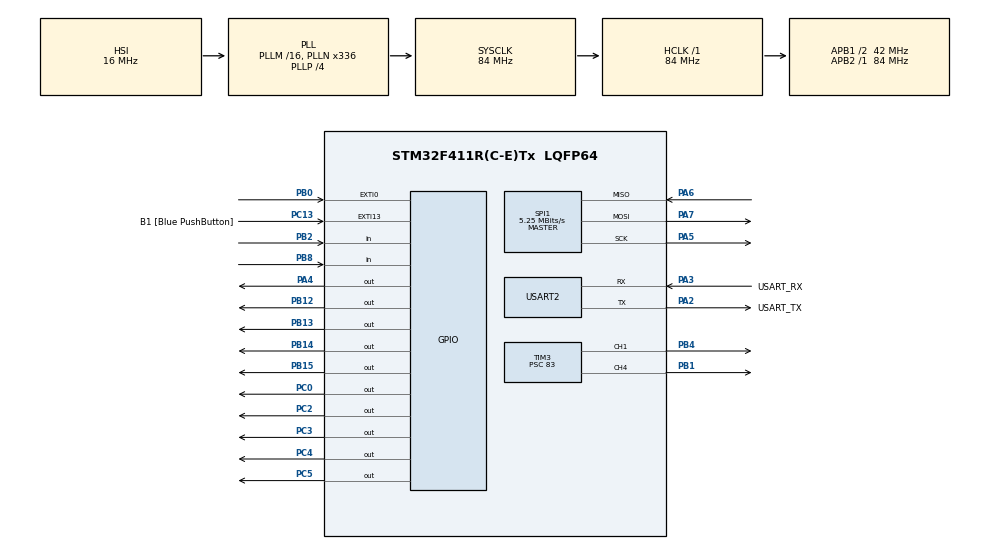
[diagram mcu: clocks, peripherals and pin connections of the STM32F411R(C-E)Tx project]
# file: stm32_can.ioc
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FREERTOS.Tasks01=defaultTask,24,128,StartDefaultTask,Default,NULL,Dynamic,NULL,NULL
FREERTOS.configUSE_NEWLIB_REENTRANT=1
Mcu.Family=STM32F4
Mcu.Name=STM32F411R(C-E)Tx
Mcu.Package=LQFP64
NVIC.EXTI0_IRQn=true\:5\:0\:false\:false\:true\:true\:true\:true\:true
NVIC.PriorityGroup=NVIC_PRIORITYGROUP_4
NVIC.TIM1_TRG_COM_TIM11_IRQn=true\:15\:0\:false\:false\:true\:false\:false\:true\:true
NVIC.TimeBase=TIM1_TRG_COM_TIM11_IRQn
NVIC.TimeBaseIP=TIM11
PA13.GPIO_Label=TMS
PA13.Mode=Serial_Wire
PA13.Signal=SYS_JTMS-SWDIO
PA14.GPIO_Label=TCK
PA14.Mode=Serial_Wire
PA14.Signal=SYS_JTCK-SWCLK
PA2.GPIO_Label=USART_TX
PA2.Mode=Asynchronous
PA2.Signal=USART2_TX
PA3.GPIO_Label=USART_RX
PA3.Mode=Asynchronous
PA3.Signal=USART2_RX
PA4.PinState=GPIO_PIN_SET
PA4.Signal=GPIO_Output
PA5.Mode=Full_Duplex_Master
PA5.Signal=SPI1_SCK
PA6.Mode=Full_Duplex_Master
PA6.Signal=SPI1_MISO
PA7.Mode=Full_Duplex_Master
PA7.Signal=SPI1_MOSI
PB0.GPIO_ModeDefaultEXTI=GPIO_MODE_IT_FALLING
PB0.GPIO_PuPd=GPIO_PULLUP
PB0.Signal=GPXTI0
PB1.Signal=S_TIM3_CH4
PB12.Signal=GPIO_Output
PB13.Signal=GPIO_Output
PB14.Signal=GPIO_Output
PB15.Signal=GPIO_Output
PB2.GPIO_PuPd=GPIO_PULLUP
PB2.Signal=GPIO_Input
PB3.GPIO_Label=SWO
PB3.Signal=SYS_JTDO-SWO
PB4.Signal=S_TIM3_CH1
PB8.GPIO_PuPd=GPIO_PULLUP
PB8.Signal=GPIO_Input
PC0.Signal=GPIO_Output
PC13-ANTI_TAMP.GPIO_Label=B1 [Blue PushButton]
PC13-ANTI_TAMP.GPIO_ModeDefaultEXTI=GPIO_MODE_IT_FALLING
PC13-ANTI_TAMP.Signal=GPXTI13
PC14-OSC32_IN.Mode=LSE-External-Oscillator
PC14-OSC32_IN.Signal=RCC_OSC32_IN
PC15-OSC32_OUT.Mode=LSE-External-Oscillator
PC15-OSC32_OUT.Signal=RCC_OSC32_OUT
PC2.Signal=GPIO_Output
PC3.Signal=GPIO_Output
PC4.Signal=GPIO_Output
PC5.Signal=GPIO_Output
PH0\ -\ OSC_IN.Mode=HSE-External-Clock-Source
PH0\ -\ OSC_IN.Signal=RCC_OSC_IN
PH1\ -\ OSC_OUT.Mode=HSE-External-Clock-Source
PH1\ -\ OSC_OUT.Signal=RCC_OSC_OUT
ProjectManager.HeapSize=0x200
ProjectManager.StackSize=0x400
ProjectManager.TargetToolchain=STM32CubeIDE
RCC.48MHZClocksFreq_Value=84000000
RCC.AHBFreq_Value=84000000
RCC.APB1CLKDivider=RCC_HCLK_DIV2
RCC.APB1Freq_Value=42000000
RCC.APB1TimFreq_Value=84000000
RCC.APB2Freq_Value=84000000
RCC.APB2TimFreq_Value=84000000
RCC.CortexFreq_Value=84000000
RCC.FLatency-AdvancedSettings=FLASH_LATENCY_2
RCC.HCLKFreq_Value=84000000
RCC.HSE_VALUE=8000000
RCC.HSI_VALUE=16000000
RCC.PLLN=336
RCC.PLLP=RCC_PLLP_DIV4
RCC.SYSCLKFreq_VALUE=84000000
RCC.SYSCLKSource=RCC_SYSCLKSOURCE_PLLCLK
RCC.VCOOutputFreq_Value=336000000
SH.S_TIM3_CH1.0=TIM3_CH1,PWM Generation1 CH1
SH.S_TIM3_CH4.0=TIM3_CH4,PWM Generation4 CH4
SPI1.BaudRatePrescaler=SPI_BAUDRATEPRESCALER_16
SPI1.CalculateBaudRate=5.25 MBits/s
SPI1.Direction=SPI_DIRECTION_2LINES
SPI1.Mode=SPI_MODE_MASTER
SPI1.VirtualType=VM_MASTER
TIM3.Channel-PWM\ Generation1\ CH1=TIM_CHANNEL_1
TIM3.Channel-PWM\ Generation4\ CH4=TIM_CHANNEL_4
TIM3.Period=19999
TIM3.Prescaler=83
USART2.VirtualMode=VM_ASYNC
VP_FREERTOS_VS_CMSIS_V2.Mode=CMSIS_V2
VP_SYS_VS_tim11.Mode=TIM11
VP_TIM3_VS_ClockSourceINT.Mode=Internal
board=NUCLEO-F411RE

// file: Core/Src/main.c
/* USER CODE BEGIN Header */
/**
  ******************************************************************************
  * @file           : main.c
  * @brief          : Combined Multi-Task System
  * : System 1 (Cap Dispenser & Press Sequence via Servos & Dual L298N)
  * : System 2 (Relay & Actuator Sequence Control)
  ******************************************************************************
  */
/* USER CODE END Header */
#include "main.h"
#include "cmsis_os.h"

/* USER CODE BEGIN Includes */
#include "mcp2515.h"
#include <stdio.h>
#include <string.h>
/* USER CODE END Includes */

/* USER CODE BEGIN PD */
/* ========================================================================= */
/* [시스템 2 매크로 정의]                                                    */
/* ========================================================================= */
#define SENSOR2_DETECTED() (HAL_GPIO_ReadPin(GPIOB, GPIO_PIN_2) == GPIO_PIN_RESET)
#define RELAY_ON()        HAL_GPIO_WritePin(GPIOB, GPIO_PIN_14, GPIO_PIN_SET)
#define RELAY_OFF()       HAL_GPIO_WritePin(GPIOB, GPIO_PIN_14, GPIO_PIN_RESET)

/* 2번 액추에이터 제어 (IN3: PB12, IN4: PB15) - PB13 핀 불량으로 PB15 대체 */
#define ACT2_FORWARD()    do { HAL_GPIO_WritePin(GPIOB, GPIO_PIN_12, GPIO_PIN_SET);   HAL_GPIO_WritePin(GPIOB, GPIO_PIN_15, GPIO_PIN_RESET); } while(0)
#define ACT2_BACKWARD()   do { HAL_GPIO_WritePin(GPIOB, GPIO_PIN_12, GPIO_PIN_RESET); HAL_GPIO_WritePin(GPIOB, GPIO_PIN_15, GPIO_PIN_SET);   } while(0)
#define ACT2_STOP()       do { HAL_GPIO_WritePin(GPIOB, GPIO_PIN_12, GPIO_PIN_RESET); HAL_GPIO_WritePin(GPIOB, GPIO_PIN_15, GPIO_PIN_RESET); } while(0)

/* ========================================================================= */
/* [시스템 1: 뚜껑 공급 및 압착 제어 매크로 정의 - PC2 핀 매핑 수정 완료]     */
/* ========================================================================= */
/* PB8: 뚜껑 감지 센서 1 */
#define SENSOR1_CAP_DETECTED() (HAL_GPIO_ReadPin(GPIOB, GPIO_PIN_8) == GPIO_PIN_RESET)

/* 뚜껑 공급 액추에이터 제어 (IN1: PC0, IN2: PC5) */
#define NEW_ACT_FORWARD()  do { HAL_GPIO_WritePin(GPIOC, GPIO_PIN_0, GPIO_PIN_SET);   HAL_GPIO_WritePin(GPIOC, GPIO_PIN_5, GPIO_PIN_RESET); } while(0)
#define NEW_ACT_BACKWARD() do { HAL_GPIO_WritePin(GPIOC, GPIO_PIN_0, GPIO_PIN_RESET); HAL_GPIO_WritePin(GPIOC, GPIO_PIN_5, GPIO_PIN_SET);   } while(0)
#define NEW_ACT_STOP()     do { HAL_GPIO_WritePin(GPIOC, GPIO_PIN_0, GPIO_PIN_RESET); HAL_GPIO_WritePin(GPIOC, GPIO_PIN_5, GPIO_PIN_RESET); } while(0)

/* 뚜껑 압착 액추에이터 제어 (IN3: PC2, IN4: PC3) */
#define PRESS_ACT_FORWARD()  do { HAL_GPIO_WritePin(GPIOC, GPIO_PIN_2, GPIO_PIN_SET);   HAL_GPIO_WritePin(GPIOC, GPIO_PIN_3, GPIO_PIN_RESET); } while(0)
#define PRESS_ACT_BACKWARD() do { HAL_GPIO_WritePin(GPIOC, GPIO_PIN_2, GPIO_PIN_RESET); HAL_GPIO_WritePin(GPIOC, GPIO_PIN_3, GPIO_PIN_SET);   } while(0)
#define PRESS_ACT_STOP()     do { HAL_GPIO_WritePin(GPIOC, GPIO_PIN_2, GPIO_PIN_RESET); HAL_GPIO_WritePin(GPIOC, GPIO_PIN_3, GPIO_PIN_RESET); } while(0)

/* 서보모터 펄스 제어 편의 매크로 (TIM3 하드웨어 매핑)
 * 서보1 (PB4, TIM3_CH1) : 뚜껑 색상 선택 — 약통 색상에 맞는 뚜껑 위치로 이동
 * 서보2 (PB1, TIM3_CH4) : 약통 스토퍼 — 약통을 멈춰 정위치 고정 */
#define SET_SERVO1_PULSE(p) __HAL_TIM_SET_COMPARE(&htim3, TIM_CHANNEL_1, (p))  /* 서보1: 뚜껑 색상 선택 */
#define SET_SERVO2_PULSE(p) __HAL_TIM_SET_COMPARE(&htim3, TIM_CHANNEL_4, (p))  /* 서보2: 약통 스토퍼 */

/* 서보1(뚜껑 색상 선택) 펄스 위치 (us) — 현장 튜닝 시 이 값만 수정 */
#define SERVO1_PULSE_RED_CAP   1040U   /* 빨간 뚜껑 */
#define SERVO1_PULSE_BLUE_CAP  2300U  /* 파란 뚜껑 (그 외 색상) */
#define SERVO1_PULSE_HOME      SERVO1_PULSE_RED_CAP  /* 대기/홈 복귀 */

/* 서보2(약통 스토퍼) 펄스·램핑 — 현장 튜닝 시 이 값만 수정 */
#define SERVO2_PULSE_OPEN     2050U  /* 스토퍼 개방 (약통 통과) */
#define SERVO2_PULSE_CLOSED    820U  /* 스토퍼 차단 (약통 고정) */
#define SERVO2_PULSE_HOME      SERVO2_PULSE_CLOSED    /* 대기/홈 위치 */
#define SERVO2_RAMP_STEP         10U  /* 램핑 1스텝당 펄스 변화량 (us) */
#define SERVO2_RAMP_DELAY_MS     20U  /* 램핑 1스텝당 대기 (ms) */

/* 큐 깊이 */
#define SYS1_QUEUE_DEPTH         8U   /* 공정1(뚜껑) 약통 정보 대기 큐 */
#define SYS2_QUEUE_DEPTH         8U   /* 공정2(분류) 약통 정보 대기 큐 */

/* 공정1(뚜껑/압착) 타이밍 (ms) */
#define CAP_ALIGN_BELT_MS         2000U  /* PB8 감지 후 정위치까지 벨트 추가 가동 */
#define SERVO1_MOVE_MS            2000U  /* 서보1(뚜껑 색상) 이동 후 안정 대기 */
#define NEW_ACT_FORWARD_MS        8400U  /* 뚜껑 공급 액추에이터 전진 */
#define NEW_ACT_BACKWARD_MS       9000U  /* 뚜껑 공급 액추에이터 후진(홈) */
#define NEW_ACT_NUDGE_MS          2000U  /* 뚜껑 공급: 중간 후진/전진 넛지 시간 */
#define PRESS_ACT_FORWARD_1ST_MS  6500U  /* 압착 1차 전진 (약통 위치 고정용, 살짝 내려옴) */
#define PRESS_ACT_FORWARD_2ND_MS  2500U  /* 압착 2차 전진 (끝까지 압착, 1차+2차 = 5.3초) */
#define PRESS_ACT_BACKWARD_MS     11000U  /* 압착 액추에이터 후진(홈) */
#define CAP_PASS_AFTER_PRESS_MS   2000U  /* 압착 완료 후 약통 통과 대기 */
#define ACT_STOP_SHORT_MS          300U  /* 액추에이터 정지 후 짧은 안정화 */
#define ACT_STOP_MED_MS            500U  /* 액추에이터 정지 후 중간 안정화 */
#define ACT_STOP_BRIEF_MS          200U  /* 액추에이터 정지 후 최소 안정화 */

/* 공정2(분류) 타이밍 (ms) */
#define ACT2_FORWARD_MS       12000U  /* 분류 액추에이터 전진 */
#define ACT2_BACKWARD_MS      13000U  /* 분류 액추에이터 후진(홈) */

/* 부팅·초기화 */
#define INIT_ACTUATOR_HOME_MS ACT2_BACKWARD_MS  /* 부팅 시 홈 후진 (가장 긴 후진 기준) */

/* NG(불량) 약통 우회 동작 타이밍 */
#define NG_CAP_RELEASE_DELAY_MS  1000U  /* 공정1: 스토퍼 개방 전 대기 */
#define NG_CAP_PASS_MS           2000U  /* 공정1: NG 스토퍼 개방 후 약통 통과 대기 */
#define NG_REJECT_BELT_MS        3000U  /* 공정2: 불량 박스까지 벨트 가동 시간 */
/* USER CODE END PD */

SPI_HandleTypeDef hspi1;

TIM_HandleTypeDef htim3;

UART_HandleTypeDef huart2;

/* Definitions for defaultTask */
osThreadId_t defaultTaskHandle;
const osThreadAttr_t defaultTask_attributes = {
  .name = "defaultTask",
  .stack_size = 128 * 4,
  .priority = (osPriority_t) osPriorityNormal,
};
/* USER CODE BEGIN PV */
MCP2515_HandleTypeDef hmcp2515;

osMutexId_t        canMutex;            /* MCP2515 SPI 동시 접근 방지 */
osSemaphoreId_t    sem_can_rx;          /* MCP2515 INT 핀 낙하 → CANPingTask 즉시 기상 */
osMessageQueueId_t sys1Queue;           /* 공정1(뚜껑): CAN 수신 → PB8 처리 대기 (최대 8) */
osMessageQueueId_t sys2Queue;           /* 공정2(분류): CAN 수신 시 sys1Queue와 동시 삽입 → PB2 처리 대기 (최대 8) */

uint8_t cap_sequence_done = 0;

/* 공유 벨트(릴레이 PB14) 조정 플래그 — 정지 우선(stop-wins)
 *  - *_belt_stop : 해당 공정의 기계 시퀀스 중 벨트 정지 요청 (어느 쪽이든 1이면 정지)
 *  - *_belt_run  : 큐가 비어도 벨트를 가동해야 하는 구간(정위치/NG 배출). 정지 요청에는 양보
 * 우선순위: 정지요청 > (가동요청 또는 큐 작업) > 정지.
 * 벨트 릴레이는 BeltMgrTask 단독으로 기록한다(다중 기록 경쟁 방지). */
volatile uint8_t cap_belt_stop  = 0U;
volatile uint8_t sort_belt_stop = 0U;
volatile uint8_t cap_belt_run   = 0U;
volatile uint8_t sort_belt_run  = 0U;
/* USER CODE END PV */

void SystemClock_Config(void);
static void MX_GPIO_Init(void);
static void MX_USART2_UART_Init(void);
static void MX_SPI1_Init(void);
static void MX_TIM3_Init(void);
void StartDefaultTask(void *argument);

/* USER CODE BEGIN PFP */
static void CANPingTask(void *argument);
static void SortTask(void *argument);           /* 공정2: 분류 액추에이터 (PB2) */
static void BeltMgrTask(void *argument);        /* 공유 벨트 릴레이 단독 제어 */
static void CAN_SendSlotAvailable(void);        /* 공정1 완료 → 1번 보드에 역압력 해제 신호 */
static void CapActuators_SetIdleBackward(void); /* 공정1 액추에이터 대기 = 후진(홈) */
static void SortActuator_SetIdleBackward(void); /* 공정2 액추에이터 대기 = 후진(홈) */
static void AllActuators_SetIdleBackward(void); /* 전체 액추에이터 대기 = 후진(홈) */
/* USER CODE END PFP */

/* USER CODE BEGIN 0 */
int __io_putchar(int ch)
{
  HAL_UART_Transmit(&huart2, (uint8_t *)&ch, 1, HAL_MAX_DELAY);
  return ch;
}

/* 약통 seq 연속성 검증: 직전 seq+1과 다르면 누락/중복으로 보고 후 현재 값으로 재동기화한다.
 * last_seq/have_last는 호출부의 static 상태를 가리킨다. */
static void Seq_CheckContinuity(const char *tag, uint8_t seq,
                                uint8_t *last_seq, uint8_t *have_last)
{
  if (*have_last)
  {
    uint8_t expected = (uint8_t)(*last_seq + 1U);
    if (seq != expected)
      printf("%s 약통 번호 불연속! (기대 %u, 수신 %u) — 정보 누락 가능, 재동기화\r\n",
             tag, expected, seq);
  }
  *last_seq  = seq;
  *have_last = 1U;
}

/* 서보2(약통 스토퍼) 현재 펄스폭(us) - 램핑 이동의 시작점으로 사용 */
static uint16_t g_servo2_pulse = SERVO2_PULSE_HOME;

static void CapActuators_SetIdleBackward(void)
{
  NEW_ACT_BACKWARD();
  PRESS_ACT_BACKWARD();
}

static void SortActuator_SetIdleBackward(void)
{
  ACT2_BACKWARD();
}

static void AllActuators_SetIdleBackward(void)
{
  NEW_ACT_BACKWARD();
  PRESS_ACT_BACKWARD();
  ACT2_BACKWARD();
}

/* 공정1 완료 시 1번 보드로 수용 가능 슬롯 신호를 전송한다.
 * 이 신호를 받은 1번 보드는 다음 약통 사이클을 시작할 수 있다.
 * data[1]에 단조 증가 seq를 실어 보내 Board 1이 CAN 재전송 중복을 식별할 수 있도록 한다. */
static void CAN_SendSlotAvailable(void)
{
  static uint8_t slot_seq = 0U;
  MCP2515_CanMsg tx = {
    .id       = CAN_ID_3RD_TX,
    .dlc      = 2U,
    .data     = {CAN_CMD_SLOT_AVAILABLE, slot_seq},
    .extended = false,
  };
  slot_seq++;
  osMutexAcquire(canMutex, osWaitForever);
  (void)MCP2515_Send(&hmcp2515, &tx);
  osMutexRelease(canMutex);
  printf("[슬롯] 1번 보드에 투입 가능 신호 전송 (seq=%u)\r\n", tx.data[1]);
}

/* 서보2(약통 스토퍼)를 target까지 step(us)씩 끊어 보내며 천천히 이동시킨다.
 * step을 작게 / step_delay_ms를 크게 할수록 더 느리고 부드럽게 움직인다. */
static void Servo2_MoveRamp(uint16_t target, uint16_t step, uint16_t step_delay_ms)
{
  int32_t cur = (int32_t)g_servo2_pulse;
  int32_t tgt = (int32_t)target;
  int32_t st  = (step == 0U) ? 1 : (int32_t)step;

  if (cur < tgt)
  {
    for (int32_t p = cur + st; p < tgt; p += st)
    {
      SET_SERVO2_PULSE((uint16_t)p);
      osDelay(step_delay_ms);
    }
  }
  else
  {
    for (int32_t p = cur - st; p > tgt; p -= st)
    {
      SET_SERVO2_PULSE((uint16_t)p);
      osDelay(step_delay_ms);
    }
  }

  SET_SERVO2_PULSE(target);
  g_servo2_pulse = target;
}
/* USER CODE END 0 */

int main(void)
{

  /* MCU Configuration--------------------------------------------------------*/

  /* Reset of all peripherals, Initializes the Flash interface and the Systick. */
  HAL_Init();

  /* Configure the system clock */
  SystemClock_Config();

  /* Initialize all configured peripherals */
  MX_GPIO_Init();
  MX_USART2_UART_Init();
  MX_SPI1_Init();
  MX_TIM3_Init();
  /* USER CODE BEGIN 2 */
  setvbuf(stdout, NULL, _IONBF, 0);
  printf("\r\n=== [3번 보드] 시작 (공정1 뚜껑/압착 + 공정2 분류) ===\r\n");

  // 서보모터용 PWM 하드웨어 드라이버 구동 시작
  HAL_TIM_PWM_Start(&htim3, TIM_CHANNEL_1);
  HAL_TIM_PWM_Start(&htim3, TIM_CHANNEL_4);

  // 시스템 1 하드웨어 대기 홈(Home) 위치 빌드 및 정지 상태 고정 (원복 완료)
  SET_SERVO1_PULSE(SERVO1_PULSE_HOME);
  SET_SERVO2_PULSE(SERVO2_PULSE_HOME);
  AllActuators_SetIdleBackward();

  // 시스템 2 초기 하드웨어 상태 빌드
  RELAY_OFF();

  // MCP2515 CAN 컨트롤러 인터페이스 구성
  hmcp2515.hspi    = &hspi1;
  hmcp2515.cs_port = MCP2515_CS_GPIO_Port;
  hmcp2515.cs_pin  = MCP2515_CS_Pin;
  hmcp2515.osc_hz  = MCP2515_OSC_8MHZ;

  if (MCP2515_Init(&hmcp2515) != HAL_OK)
  {
    printf("[통신] CAN 초기화 실패\r\n");
    MCP2515_PrintDiag(&hmcp2515);
  }
  else
  {
    MCP2515_SetAcceptanceFilter(&hmcp2515, CAN_ID_1ST_TX, 0x7FFU);
    MCP2515_SetNormalMode(&hmcp2515);
    printf("[통신] CAN 연결 완료 (8MHz)\r\n");
  }
  /* USER CODE END 2 */

  /* Init scheduler */
  osKernelInitialize();

  /* USER CODE BEGIN RTOS_MUTEX */
  canMutex = osMutexNew(NULL);
  if (canMutex == NULL) Error_Handler();
  /* USER CODE END RTOS_MUTEX */

  /* USER CODE BEGIN RTOS_SEMAPHORES */
  sem_can_rx = osSemaphoreNew(2U, 0U, NULL);
  if (sem_can_rx == NULL) Error_Handler();

  __HAL_GPIO_EXTI_CLEAR_IT(MCP2515_INT_Pin);
  HAL_NVIC_SetPriority(EXTI0_IRQn, 5, 0);
  HAL_NVIC_EnableIRQ(EXTI0_IRQn);
  /* USER CODE END RTOS_SEMAPHORES */

  /* USER CODE BEGIN RTOS_QUEUES */
  sys1Queue = osMessageQueueNew(SYS1_QUEUE_DEPTH, sizeof(ContainerInfo), NULL);
  sys2Queue = osMessageQueueNew(SYS2_QUEUE_DEPTH, sizeof(ContainerInfo), NULL);
  if (sys1Queue == NULL || sys2Queue == NULL) Error_Handler();
  /* USER CODE END RTOS_QUEUES */

  /* Create the thread(s) */
  /* creation of defaultTask */
  defaultTaskHandle = osThreadNew(StartDefaultTask, NULL, &defaultTask_attributes);

  /* USER CODE BEGIN RTOS_THREADS */
  static const osThreadAttr_t canping_attr = {
    .name       = "CANPing",
    .stack_size = 256U * 4U,
    .priority   = osPriorityBelowNormal,
  };
  osThreadNew(CANPingTask, NULL, &canping_attr);

  /* 공정2(분류)를 공정1(StartDefaultTask)과 병렬 실행 */
  static const osThreadAttr_t sort_attr = {
    .name       = "SortTask",
    .stack_size = 256U * 4U,
    .priority   = osPriorityNormal,
  };
  osThreadNew(SortTask, NULL, &sort_attr);

  /* 공유 벨트 릴레이를 단독으로 제어하는 매니저 태스크 */
  static const osThreadAttr_t beltmgr_attr = {
    .name       = "BeltMgr",
    .stack_size = 128U * 4U,
    .priority   = osPriorityAboveNormal,
  };
  osThreadNew(BeltMgrTask, NULL, &beltmgr_attr);
  /* USER CODE END RTOS_THREADS */

  /* Start scheduler */
  osKernelStart();

  /* We should never get here as control is now taken by the scheduler */

  /* Infinite loop */
  while (1)
  {

  }
}

void SystemClock_Config(void)
{
  RCC_OscInitTypeDef RCC_OscInitStruct = {0};
  RCC_ClkInitTypeDef RCC_ClkInitStruct = {0};

  /** Configure the main internal regulator output voltage
  */
  __HAL_RCC_PWR_CLK_ENABLE();
  __HAL_PWR_VOLTAGESCALING_CONFIG(PWR_REGULATOR_VOLTAGE_SCALE1);

  /** Initializes the RCC Oscillators according to the specified parameters
  * in the RCC_OscInitTypeDef structure.
  */
  RCC_OscInitStruct.OscillatorType = RCC_OSCILLATORTYPE_HSI;
  RCC_OscInitStruct.HSIState = RCC_HSI_ON;
  RCC_OscInitStruct.HSICalibrationValue = RCC_HSICALIBRATION_DEFAULT;
  RCC_OscInitStruct.PLL.PLLState = RCC_PLL_ON;
  RCC_OscInitStruct.PLL.PLLSource = RCC_PLLSOURCE_HSI;
  RCC_OscInitStruct.PLL.PLLM = 16;
  RCC_OscInitStruct.PLL.PLLN = 336;
  RCC_OscInitStruct.PLL.PLLP = RCC_PLLP_DIV4;
  RCC_OscInitStruct.PLL.PLLQ = 4;
  if (HAL_RCC_OscConfig(&RCC_OscInitStruct) != HAL_OK)
  {
    Error_Handler();
  }

  /** Initializes the CPU, AHB and APB buses clocks
  */
  RCC_ClkInitStruct.ClockType = RCC_CLOCKTYPE_HCLK|RCC_CLOCKTYPE_SYSCLK
                              |RCC_CLOCKTYPE_PCLK1|RCC_CLOCKTYPE_PCLK2;
  RCC_ClkInitStruct.SYSCLKSource = RCC_SYSCLKSOURCE_PLLCLK;
  RCC_ClkInitStruct.AHBCLKDivider = RCC_SYSCLK_DIV1;
  RCC_ClkInitStruct.APB1CLKDivider = RCC_HCLK_DIV2;
  RCC_ClkInitStruct.APB2CLKDivider = RCC_HCLK_DIV1;

  if (HAL_RCC_ClockConfig(&RCC_ClkInitStruct, FLASH_LATENCY_2) != HAL_OK)
  {
    Error_Handler();
  }
}

static void MX_SPI1_Init(void)
{

  /* SPI1 parameter configuration*/
  hspi1.Instance = SPI1;
  hspi1.Init.Mode = SPI_MODE_MASTER;
  hspi1.Init.Direction = SPI_DIRECTION_2LINES;
  hspi1.Init.DataSize = SPI_DATASIZE_8BIT;
  hspi1.Init.CLKPolarity = SPI_POLARITY_LOW;
  hspi1.Init.CLKPhase = SPI_PHASE_1EDGE;
  hspi1.Init.NSS = SPI_NSS_SOFT;
  hspi1.Init.BaudRatePrescaler = SPI_BAUDRATEPRESCALER_16;
  hspi1.Init.FirstBit = SPI_FIRSTBIT_MSB;
  hspi1.Init.TIMode = SPI_TIMODE_DISABLE;
  hspi1.Init.CRCCalculation = SPI_CRCCALCULATION_DISABLE;
  hspi1.Init.CRCPolynomial = 10;
  if (HAL_SPI_Init(&hspi1) != HAL_OK)
  {
    Error_Handler();
  }

}

static void MX_TIM3_Init(void)
{

  TIM_ClockConfigTypeDef sClockSourceConfig = {0};
  TIM_MasterConfigTypeDef sMasterConfig = {0};
  TIM_OC_InitTypeDef sConfigOC = {0};

  htim3.Instance = TIM3;
  htim3.Init.Prescaler = 83;
  htim3.Init.CounterMode = TIM_COUNTERMODE_UP;
  htim3.Init.Period = 19999;
  htim3.Init.ClockDivision = TIM_CLOCKDIVISION_DIV1;
  htim3.Init.AutoReloadPreload = TIM_AUTORELOAD_PRELOAD_DISABLE;
  if (HAL_TIM_Base_Init(&htim3) != HAL_OK)
  {
    Error_Handler();
  }
  sClockSourceConfig.ClockSource = TIM_CLOCKSOURCE_INTERNAL;
  if (HAL_TIM_ConfigClockSource(&htim3, &sClockSourceConfig) != HAL_OK)
  {
    Error_Handler();
  }
  if (HAL_TIM_PWM_Init(&htim3) != HAL_OK)
  {
    Error_Handler();
  }
  sMasterConfig.MasterOutputTrigger = TIM_TRGO_RESET;
  sMasterConfig.MasterSlaveMode = TIM_MASTERSLAVEMODE_DISABLE;
  if (HAL_TIMEx_MasterConfigSynchronization(&htim3, &sMasterConfig) != HAL_OK)
  {
    Error_Handler();
  }
  sConfigOC.OCMode = TIM_OCMODE_PWM1;
  sConfigOC.Pulse = 0;
  sConfigOC.OCPolarity = TIM_OCPOLARITY_HIGH;
  sConfigOC.OCFastMode = TIM_OCFAST_DISABLE;
  if (HAL_TIM_PWM_ConfigChannel(&htim3, &sConfigOC, TIM_CHANNEL_1) != HAL_OK)
  {
    Error_Handler();
  }
  if (HAL_TIM_PWM_ConfigChannel(&htim3, &sConfigOC, TIM_CHANNEL_4) != HAL_OK)
  {
    Error_Handler();
  }
  HAL_TIM_MspPostInit(&htim3);

}

static void MX_USART2_UART_Init(void)
{

  huart2.Instance = USART2;
  huart2.Init.BaudRate = 115200;
  huart2.Init.WordLength = UART_WORDLENGTH_8B;
  huart2.Init.StopBits = UART_STOPBITS_1;
  huart2.Init.Parity = UART_PARITY_NONE;
  huart2.Init.Mode = UART_MODE_TX_RX;
  huart2.Init.HwFlowCtl = UART_HWCONTROL_NONE;
  huart2.Init.OverSampling = UART_OVERSAMPLING_16;
  if (HAL_UART_Init(&huart2) != HAL_OK)
  {
    Error_Handler();
  }

}

static void MX_GPIO_Init(void)
{
  GPIO_InitTypeDef GPIO_InitStruct = {0};

  /* GPIO Ports Clock Enable */
  __HAL_RCC_GPIOC_CLK_ENABLE();
  __HAL_RCC_GPIOH_CLK_ENABLE();
  __HAL_RCC_GPIOA_CLK_ENABLE();
  __HAL_RCC_GPIOB_CLK_ENABLE();

  /*Configure GPIO pin Output Level */
  HAL_GPIO_WritePin(GPIOC, GPIO_PIN_0|GPIO_PIN_2|GPIO_PIN_3|GPIO_PIN_4
                          |GPIO_PIN_5, GPIO_PIN_RESET);

  /*Configure GPIO pin Output Level */
  HAL_GPIO_WritePin(GPIOA, GPIO_PIN_4, GPIO_PIN_SET);

  /*Configure GPIO pin Output Level */
  HAL_GPIO_WritePin(GPIOB, GPIO_PIN_12|GPIO_PIN_13|GPIO_PIN_14|GPIO_PIN_15, GPIO_PIN_RESET);

  /*Configure GPIO pin : B1_Pin */
  GPIO_InitStruct.Pin = B1_Pin;
  GPIO_InitStruct.Mode = GPIO_MODE_IT_FALLING;
  GPIO_InitStruct.Pull = GPIO_NOPULL;
  HAL_GPIO_Init(B1_GPIO_Port, &GPIO_InitStruct);

  /*Configure GPIO pins : PC0 PC2 PC3 PC4
                           PC5 */
  GPIO_InitStruct.Pin = GPIO_PIN_0|GPIO_PIN_2|GPIO_PIN_3|GPIO_PIN_4
                          |GPIO_PIN_5;
  GPIO_InitStruct.Mode = GPIO_MODE_OUTPUT_PP;
  GPIO_InitStruct.Pull = GPIO_NOPULL;
  GPIO_InitStruct.Speed = GPIO_SPEED_FREQ_LOW;
  HAL_GPIO_Init(GPIOC, &GPIO_InitStruct);

  /*Configure GPIO pin : PA4 */
  GPIO_InitStruct.Pin = GPIO_PIN_4;
  GPIO_InitStruct.Mode = GPIO_MODE_OUTPUT_PP;
  GPIO_InitStruct.Pull = GPIO_NOPULL;
  GPIO_InitStruct.Speed = GPIO_SPEED_FREQ_LOW;
  HAL_GPIO_Init(GPIOA, &GPIO_InitStruct);

  /*Configure GPIO pin : PB0 */
  GPIO_InitStruct.Pin = GPIO_PIN_0;
  GPIO_InitStruct.Mode = GPIO_MODE_IT_FALLING;
  GPIO_InitStruct.Pull = GPIO_PULLUP;
  HAL_GPIO_Init(GPIOB, &GPIO_InitStruct);

  /*Configure GPIO pins : PB2 PB8 */
  GPIO_InitStruct.Pin = GPIO_PIN_2|GPIO_PIN_8;
  GPIO_InitStruct.Mode = GPIO_MODE_INPUT;
  GPIO_InitStruct.Pull = GPIO_PULLUP;
  HAL_GPIO_Init(GPIOB, &GPIO_InitStruct);

  /*Configure GPIO pins : PB12 PB13 PB14 PB15 */
  GPIO_InitStruct.Pin = GPIO_PIN_12|GPIO_PIN_13|GPIO_PIN_14|GPIO_PIN_15;
  GPIO_InitStruct.Mode = GPIO_MODE_OUTPUT_PP;
  GPIO_InitStruct.Pull = GPIO_NOPULL;
  GPIO_InitStruct.Speed = GPIO_SPEED_FREQ_LOW;
  HAL_GPIO_Init(GPIOB, &GPIO_InitStruct);

  /* EXTI interrupt init*/
  HAL_NVIC_SetPriority(EXTI0_IRQn, 5, 0);
  HAL_NVIC_EnableIRQ(EXTI0_IRQn);

}

/* USER CODE BEGIN 4 */
void HAL_GPIO_EXTI_Callback(uint16_t GPIO_Pin)
{
  if (GPIO_Pin == MCP2515_INT_Pin)
    osSemaphoreRelease(sem_can_rx);
}

static void CANPingTask(void *argument)
{
  (void)argument;
  uint8_t last_seq = 0xFFU;  /* 직전에 큐에 삽입된 seq — CAN 재전송 중복 차단 */

  for (;;)
  {
    osSemaphoreAcquire(sem_can_rx, 100U);  /* INT 낙하 즉시 기상, 100ms 타임아웃 폴백 */

    for (;;)
    {
      MCP2515_CanMsg rx = {0};
      osMutexAcquire(canMutex, osWaitForever);
      HAL_StatusTypeDef rx_st = MCP2515_Receive(&hmcp2515, &rx, 1U);
      osMutexRelease(canMutex);

      if (rx_st != HAL_OK)
        break;

      if (rx.id != CAN_ID_1ST_TX || rx.dlc < 3U || rx.data[0] != CAN_MSG_CONTAINER)
        continue;

      /* 동일 seq가 다시 수신되면 CAN 재전송으로 간주하고 무시 */
      if (rx.data[1] == last_seq)
      {
        printf("[수신] 중복 메시지 무시 (번호 %u, EMI 재전송 추정)\r\n", rx.data[1]);
        continue;
      }
      last_seq = rx.data[1];

      ContainerInfo info = { .seq = rx.data[1], .color = (char)rx.data[2] };

      /* 공정1 큐 삽입 */
      if (osMessageQueuePut(sys1Queue, &info, 0U, 0U) == osOK)
      {
        printf("[수신] 약통 도착 (번호 %u, 색상 %c) — 공정1 대기 %lu개\r\n",
               info.seq, info.color,
               (unsigned long)osMessageQueueGetCount(sys1Queue));
      }
      else
      {
        printf("[수신] 공정1 대기열 가득참 — 약통 번호 %u 누락\r\n", info.seq);
      }

      /* 공정2 큐 동시 삽입 — 약통이 공정2 센서 도달 전에 색상 정보를 미리 확보 */
      if (osMessageQueuePut(sys2Queue, &info, 0U, 0U) == osOK)
      {
        printf("[수신] 약통 도착 (번호 %u, 색상 %c) — 공정2 대기 %lu개\r\n",
               info.seq, info.color,
               (unsigned long)osMessageQueueGetCount(sys2Queue));
      }
      else
      {
        printf("[수신] 공정2 대기열 가득참 — 약통 번호 %u 누락\r\n", info.seq);
      }
    }
  }
}

/* [공정2] 분류 액추에이터(ACT2, PB2) — 공정1(StartDefaultTask)과 병렬 실행.
 * 벨트 릴레이는 직접 만지지 않고 sort_belt_stop / sort_belt_run 플래그로 BeltMgrTask에 요청한다. */
static void SortTask(void *argument)
{
  (void)argument;
  uint8_t sys2_sequence_done  = 0U;
  uint8_t prev_sensor2_active = 0U;   /* 센서 상태 전이 감지용 */

  /* 변화 감지용 이전값 스냅샷 */
  int      dbg_prev_pb2       = -1;
  uint32_t dbg_prev_sys1q     = 0xFFFFFFFFU;
  uint32_t dbg_prev_sys2q     = 0xFFFFFFFFU;
  uint8_t  dbg_prev_cap_stop  = 0xFFU;
  uint8_t  dbg_prev_sort_stop = 0xFFU;

  for (;;)
  {
    if (SENSOR2_DETECTED())
    {
      /* 센서 첫 감지 시 전이 로그 출력 */
      if (!prev_sensor2_active)
      {
        printf("[공정2-DBG] *** 센서 감지! ***\r\n");
        printf("[공정2-DBG]   GPIO PB2 raw  = %d (0=LOW감지, 1=HIGH)\r\n",
               (int)HAL_GPIO_ReadPin(GPIOB, GPIO_PIN_2));
        printf("[공정2-DBG]   seq_done      = %u\r\n", sys2_sequence_done);
        printf("[공정2-DBG]   sys1Queue     = %lu개\r\n",
               (unsigned long)osMessageQueueGetCount(sys1Queue));
        printf("[공정2-DBG]   sys2Queue     = %lu개\r\n",
               (unsigned long)osMessageQueueGetCount(sys2Queue));
        printf("[공정2-DBG]   cap_belt_stop = %u  sort_belt_stop = %u\r\n",
               cap_belt_stop, sort_belt_stop);
        printf("[공정2-DBG]   cap_belt_run  = %u  sort_belt_run  = %u\r\n",
               cap_belt_run, sort_belt_run);
        prev_sensor2_active = 1U;
      }

      if (sys2_sequence_done == 0U)
      {
        sys2_sequence_done = 1U;

        static uint8_t s2_last_seq  = 0U;
        static uint8_t s2_have_last = 0U;

        ContainerInfo info = { .seq = 0U, .color = '?' };
        if (osMessageQueueGet(sys2Queue, &info, NULL, 0U) == osOK)
        {
          printf("[공정2] 약통 확인 (번호 %u, 색상 %c) — 대기 %lu개\r\n",
                 info.seq, info.color,
                 (unsigned long)osMessageQueueGetCount(sys2Queue));
          Seq_CheckContinuity("[공정2]", info.seq, &s2_last_seq, &s2_have_last);
        }
        else
        {
          printf("[공정2] 대기열 비어있음 — 감지된 약통 처리\r\n");
        }

        if (info.color == 'N')
        {
          /* NG: 분류 액추에이터 생략, 벨트 계속 가동해 불량 박스로 배출 */
          printf("[공정2] 불량 약통 — 분류 건너뛰고 불량 박스로 배출\r\n");
          sort_belt_run = 1U;
          osDelay(NG_REJECT_BELT_MS);
          sort_belt_run = 0U;

          /* NG는 공정2까지 완료된 뒤 슬롯 반환 (공정1에서는 반환하지 않음) */
          CAN_SendSlotAvailable();
          printf("[공정2] 불량 배출 완료 — 다음 약통 투입 가능\r\n");
        }
        else
        {
          printf("[공정2] 약통 감지 — 벨트 정지 후 분류 동작 시작\r\n");

          sort_belt_stop = 1U;              /* 분류 액추에이터 동작 동안 벨트 정지 요청 */
          osDelay(50);

          printf("[공정2] 분류 액추에이터 전진\r\n");
          ACT2_FORWARD();
          osDelay(ACT2_FORWARD_MS);

          printf("[공정2] 분류 액추에이터 정지\r\n");
          ACT2_STOP();
          osDelay(ACT_STOP_SHORT_MS);

          printf("[공정2] 분류 액추에이터 후진\r\n");
          ACT2_BACKWARD();
          osDelay(ACT2_BACKWARD_MS);

          SortActuator_SetIdleBackward();
          osDelay(50);

          sort_belt_stop = 0U;
          printf("[공정2] 분류 완료 — 벨트 재가동\r\n");
          osDelay(ACT_STOP_MED_MS);
        }

        /* 공정2 완료 시점에 명시적으로 해제 — 센서가 계속 감지 중이어도 다음 약통을 처리할 수 있도록.
         * else 분기(센서 비감지)만 의존하면 약통이 센서 위치에 정지 시 영구 잠금이 발생한다. */
        sys2_sequence_done = 0U;
      }

      osDelay(50);
    }
    else
    {
      /* 센서 비감지 전이 로그 */
      if (prev_sensor2_active)
      {
        printf("[공정2-DBG] 센서 비감지 전환 — seq_done=%u\r\n", sys2_sequence_done);
        prev_sensor2_active = 0U;
      }

      /* 값이 달라졌을 때만 대기 상태 출력 */
      {
        int      cur_pb2       = (int)HAL_GPIO_ReadPin(GPIOB, GPIO_PIN_2);
        uint32_t cur_sys1q     = (uint32_t)osMessageQueueGetCount(sys1Queue);
        uint32_t cur_sys2q     = (uint32_t)osMessageQueueGetCount(sys2Queue);
        uint8_t  cur_cap_stop  = cap_belt_stop;
        uint8_t  cur_sort_stop = sort_belt_stop;

        if (cur_pb2       != dbg_prev_pb2       ||
            cur_sys1q     != dbg_prev_sys1q     ||
            cur_sys2q     != dbg_prev_sys2q     ||
            cur_cap_stop  != dbg_prev_cap_stop  ||
            cur_sort_stop != dbg_prev_sort_stop)
        {
          printf("[공정2-DBG] 대기중 | PB2=%d seq_done=%u"
                 " sys1Q=%lu sys2Q=%lu belt_stop(c=%u,s=%u)\r\n",
                 cur_pb2, sys2_sequence_done,
                 (unsigned long)cur_sys1q, (unsigned long)cur_sys2q,
                 cur_cap_stop, cur_sort_stop);

          dbg_prev_pb2       = cur_pb2;
          dbg_prev_sys1q     = cur_sys1q;
          dbg_prev_sys2q     = cur_sys2q;
          dbg_prev_cap_stop  = cur_cap_stop;
          dbg_prev_sort_stop = cur_sort_stop;
        }
      }

      sys2_sequence_done = 0U;
      SortActuator_SetIdleBackward();
      osDelay(20);
    }
  }
}

/* 공유 벨트 릴레이(PB14) 단독 제어 — 정지 우선(stop-wins)
 *  정지요청(어느 공정이든) > (가동요청 또는 큐 작업) > 정지 */
static void BeltMgrTask(void *argument)
{
  (void)argument;
  for (;;)
  {
    uint8_t stop = (cap_belt_stop || sort_belt_stop);
    uint8_t run  = (cap_belt_run  || sort_belt_run);
    uint8_t work = (osMessageQueueGetCount(sys1Queue) > 0U) ||
                   (osMessageQueueGetCount(sys2Queue) > 0U);

    if (!stop && (run || work))
      RELAY_ON();
    else
      RELAY_OFF();

    osDelay(20);
  }
}
/* USER CODE END 4 */

void StartDefaultTask(void *argument)
{
  /* USER CODE BEGIN 5 */
  /* [공정1] 뚜껑 공급 + 신규 압착 — 공정2(SortTask)와 병렬 실행.
   * 벨트 릴레이는 직접 만지지 않고 cap_belt_stop / cap_belt_run 플래그로 BeltMgrTask에 요청한다. */
  (void)argument;
  static GPIO_PinState prev_sensor1_state = GPIO_PIN_SET;

  /* 부팅 시 모든 액추에이터를 후진(홈) 구동 후 대기 방향 유지 */
  printf("[초기화] 모든 액추에이터 후진(홈)\r\n");
  AllActuators_SetIdleBackward();
  osDelay(INIT_ACTUATOR_HOME_MS);
  AllActuators_SetIdleBackward();
  printf("[초기화] 액추에이터 홈 복귀 완료\r\n");

  for (;;)
  {
    if (SENSOR1_CAP_DETECTED())
    {
      if (cap_sequence_done == 0)
      {
        cap_sequence_done = 1;

        /* 공정1 큐에서 약통 정보 꺼내기 */
        static uint8_t s1_last_seq  = 0U;
        static uint8_t s1_have_last = 0U;

        ContainerInfo info = { .seq = 0U, .color = '?' };
        if (osMessageQueueGet(sys1Queue, &info, NULL, 0U) == osOK)
        {
          printf("[공정1] 약통 확인 (번호 %u, 색상 %c) — 대기 %lu개\r\n",
                 info.seq, info.color,
                 (unsigned long)osMessageQueueGetCount(sys1Queue));
          Seq_CheckContinuity("[공정1]", info.seq, &s1_last_seq, &s1_have_last);
        }
        else
        {
          printf("[공정1] 대기열 비어있음 — 감지된 약통 처리\r\n");
        }

        if (info.color == 'N')
        {
          /* NG: 뚜껑/압착 생략. 벨트 가동 유지 후 스토퍼(서보2) 개방으로 약통 통과 */
          printf("[공정1] 불량 약통 — 뚜껑/압착 건너뛰고 통과시킴\r\n");
          cap_belt_run = 1U;                /* 큐가 비어도 벨트 가동(정지 요청에는 양보) */
          osDelay(NG_CAP_RELEASE_DELAY_MS);
          Servo2_MoveRamp(SERVO2_PULSE_OPEN, SERVO2_RAMP_STEP, SERVO2_RAMP_DELAY_MS);  /* 스토퍼 개방 → 약통 전진 */
          osDelay(NG_CAP_PASS_MS);
          Servo2_MoveRamp(SERVO2_PULSE_HOME, SERVO2_RAMP_STEP, SERVO2_RAMP_DELAY_MS);  /* 스토퍼 원위치 복귀 */
          cap_belt_run = 0U;
        }
        else
        {
          /* 감지 후 정위치까지 벨트를 더 진행시킨 뒤, 공정 동안 벨트 정지 요청 */
          cap_belt_run = 1U;
          osDelay(CAP_ALIGN_BELT_MS);
          cap_belt_run  = 0U;
          cap_belt_stop = 1U;

          osDelay(1000);

          // STEP 1. 스토퍼 개방 (압착 기구가 약통을 고정하므로 공정 내내 오픈 유지)
          printf("[공정1] 스토퍼 오픈\r\n");
          Servo2_MoveRamp(SERVO2_PULSE_OPEN, SERVO2_RAMP_STEP, SERVO2_RAMP_DELAY_MS);

          // STEP 2. 압착 1차 (약통 위치 고정 — 살짝 내려옴)
          printf("[공정1] 압착 1차 전진\r\n");
          PRESS_ACT_FORWARD();
          osDelay(PRESS_ACT_FORWARD_1ST_MS);
          PRESS_ACT_STOP();
          osDelay(ACT_STOP_SHORT_MS);

          // STEP 3. 뚜껑 색상 선택
          uint16_t cap_pulse = (info.color == 'R') ? SERVO1_PULSE_RED_CAP : SERVO1_PULSE_BLUE_CAP;
          printf("[공정1] 뚜껑 색상 선택: %s 뚜껑\r\n",
                 (info.color == 'R') ? "빨강" : "파랑/기타");
          SET_SERVO1_PULSE(cap_pulse);
          osDelay(SERVO1_MOVE_MS);

          // STEP 4. 뚜껑 공급 (전진 → 넛지 후진 → 넛지 전진 → 후진 복귀)
          printf("[공정1] 뚜껑 공급 액추에이터 전진\r\n");
          NEW_ACT_FORWARD();
          osDelay(NEW_ACT_FORWARD_MS);

          printf("[공정1] 뚜껑 공급 액추에이터 넛지 후진\r\n");
          NEW_ACT_BACKWARD();
          osDelay(NEW_ACT_NUDGE_MS);

          printf("[공정1] 뚜껑 공급 액추에이터 넛지 전진\r\n");
          NEW_ACT_FORWARD();
          osDelay(NEW_ACT_NUDGE_MS);

          printf("[공정1] 뚜껑 공급 액추에이터 후진\r\n");
          NEW_ACT_BACKWARD();
          osDelay(NEW_ACT_BACKWARD_MS);
          NEW_ACT_BACKWARD();                /* 대기 상태 유지 */
          osDelay(ACT_STOP_MED_MS);

          // 서보1 홈 복귀 (뚜껑 공급 완료 후)
          SET_SERVO1_PULSE(SERVO1_PULSE_HOME);
          osDelay(SERVO1_MOVE_MS);

          // STEP 5. 압착 2차 (끝까지 압착 — 1차 + 2차 합산 5.3초)
          printf("[공정1] 압착 2차 전진\r\n");
          PRESS_ACT_FORWARD();
          osDelay(PRESS_ACT_FORWARD_2ND_MS);
          PRESS_ACT_STOP();
          osDelay(ACT_STOP_SHORT_MS);

          // STEP 6. 압착 해제 (후진 복귀)
          printf("[공정1] 압착 후진 (해제)\r\n");
          PRESS_ACT_BACKWARD();
          osDelay(PRESS_ACT_BACKWARD_MS);
          PRESS_ACT_BACKWARD();              /* 대기 상태 유지 */
          osDelay(ACT_STOP_BRIEF_MS);

          // STEP 7. 벨트 재가동 (스토퍼 이미 오픈 상태 — 약통 바로 배출)
          printf("[공정1] 벨트 재가동 (약통 배출 중)\r\n");
          cap_belt_stop = 0U;
          cap_belt_run  = 1U;
          osDelay(CAP_PASS_AFTER_PRESS_MS);

          // STEP 8. 스토퍼 닫기 (약통 통과 완료 후 차단)
          printf("[공정1] 스토퍼 닫기\r\n");
          Servo2_MoveRamp(SERVO2_PULSE_HOME, SERVO2_RAMP_STEP, SERVO2_RAMP_DELAY_MS);
          cap_belt_run = 0U;

          CapActuators_SetIdleBackward();
          osDelay(ACT_STOP_BRIEF_MS);
          printf("[공정1] 뚜껑 압착 완료\r\n");
        }

        /* 정상 약통만 공정1 완료 시 슬롯 반환. NG는 공정2 배출 완료 후 반환 */
        if (info.color != 'N')
          CAN_SendSlotAvailable();

        printf("[공정1] 완료\r\n");

        /* 스토퍼가 이미 닫힌 시점에서 다음 감지를 허용한다.
         * 이 시점까지 cap_sequence_done = 1 로 유지되어 공정 중 추가 감지를 차단했음. */
        cap_sequence_done = 0;
      }

      osDelay(50);
    }
    else
    {
      if (prev_sensor1_state != GPIO_PIN_SET)
      {
        SET_SERVO1_PULSE(SERVO1_PULSE_HOME);
        Servo2_MoveRamp(SERVO2_PULSE_HOME, SERVO2_RAMP_STEP, SERVO2_RAMP_DELAY_MS);
        CapActuators_SetIdleBackward();
        cap_belt_stop = 0U;                 /* 안전: 정지 요청 해제 */
        cap_belt_run  = 0U;
        printf("[공정1] 센서 비어있음 — 대기 상태\r\n");
      }
      cap_sequence_done = 0;
    }
    prev_sensor1_state = HAL_GPIO_ReadPin(GPIOB, GPIO_PIN_8);

    osDelay(20);
  }
  /* USER CODE END 5 */
}

void HAL_TIM_PeriodElapsedCallback(TIM_HandleTypeDef *htim)
{
  if (htim->Instance == TIM11)
  {
    HAL_IncTick();
  }
}

void Error_Handler(void)
{
  __disable_irq();
  while (1)
  {
  }
}
